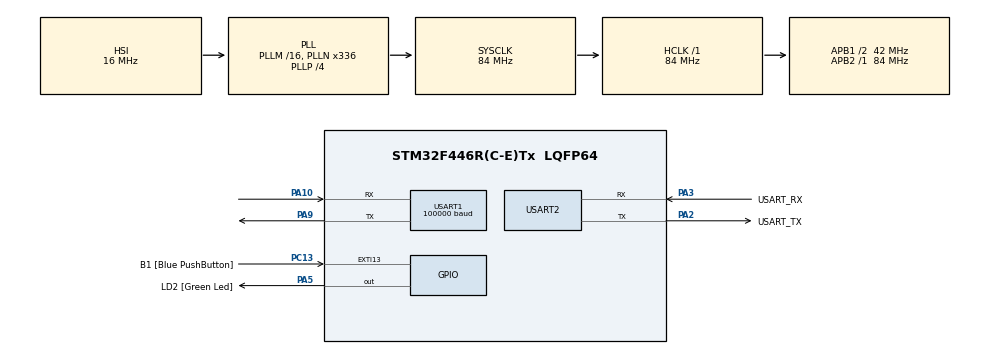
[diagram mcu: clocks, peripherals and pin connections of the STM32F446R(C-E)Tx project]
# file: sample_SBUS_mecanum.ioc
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Mcu.Family=STM32F4
Mcu.Name=STM32F446R(C-E)Tx
Mcu.Package=LQFP64
NVIC.PriorityGroup=NVIC_PRIORITYGROUP_4
NVIC.TIM6_DAC_IRQn=true\:1\:0\:true\:false\:true\:true
NVIC.USART1_IRQn=true\:0\:0\:false\:false\:true\:true
PA10.Mode=Asynchronous
PA10.Signal=USART1_RX
PA13.GPIO_Label=TMS
PA13.Mode=Serial_Wire
PA13.Signal=SYS_JTMS-SWDIO
PA14.GPIO_Label=TCK
PA14.Mode=Serial_Wire
PA14.Signal=SYS_JTCK-SWCLK
PA2.GPIO_Label=USART_TX
PA2.Mode=Asynchronous
PA2.Signal=USART2_TX
PA3.GPIO_Label=USART_RX
PA3.Mode=Asynchronous
PA3.Signal=USART2_RX
PA5.GPIO_Label=LD2 [Green Led]
PA5.Signal=GPIO_Output
PA9.Mode=Asynchronous
PA9.Signal=USART1_TX
PB3.GPIO_Label=SWO
PB3.Signal=SYS_JTDO-SWO
PC13.GPIO_Label=B1 [Blue PushButton]
PC13.GPIO_ModeDefaultEXTI=GPIO_MODE_IT_FALLING
PC13.Signal=GPXTI13
PC14-OSC32_IN.Mode=LSE-External-Oscillator
PC14-OSC32_IN.Signal=RCC_OSC32_IN
PC15-OSC32_OUT.Mode=LSE-External-Oscillator
PC15-OSC32_OUT.Signal=RCC_OSC32_OUT
PH0-OSC_IN.Mode=HSE-External-Oscillator
PH0-OSC_IN.Signal=RCC_OSC_IN
PH1-OSC_OUT.Mode=HSE-External-Oscillator
PH1-OSC_OUT.Signal=RCC_OSC_OUT
ProjectManager.HeapSize=0x200
ProjectManager.StackSize=0x400
ProjectManager.TargetToolchain=SW4STM32
RCC.48MHZClocksFreq_Value=84000000
RCC.AHBFreq_Value=84000000
RCC.APB1CLKDivider=RCC_HCLK_DIV2
RCC.APB1Freq_Value=42000000
RCC.APB1TimFreq_Value=84000000
RCC.APB2Freq_Value=84000000
RCC.APB2TimFreq_Value=84000000
RCC.CortexFreq_Value=84000000
RCC.FLatency-AdvancedSettings=FLASH_LATENCY_2
RCC.HCLKFreq_Value=84000000
RCC.HSE_VALUE=8000000
RCC.HSI_VALUE=16000000
RCC.PLLN=336
RCC.PLLP=RCC_PLLP_DIV4
RCC.SYSCLKFreq_VALUE=84000000
RCC.SYSCLKSource=RCC_SYSCLKSOURCE_PLLCLK
RCC.USBFreq_Value=168000000
RCC.VCOOutputFreq_Value=336000000
TIM6.Period=84
TIM6.Prescaler=1000-1
USART1.BaudRate=100000
USART1.VirtualMode=VM_ASYNC
USART2.VirtualMode=VM_ASYNC
VP_TIM6_VS_ClockSourceINT.Mode=Enable_Timer
board=NUCLEO-F446RE

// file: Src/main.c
/**
 ******************************************************************************
 * @file           : main.c
 * @brief          : Main program body
 ******************************************************************************
 ** This notice applies to any and all portions of this file
 * that are not between comment pairs USER CODE BEGIN and
 * USER CODE END. Other portions of this file, whether
 * inserted by the user or by software development tools
 * are owned by their respective copyright owners.
 *
 * COPYRIGHT(c) 2020 STMicroelectronics
 *
 * Redistribution and use in source and binary forms, with or without modification,
 * are permitted provided that the following conditions are met:
 *   1. Redistributions of source code must retain the above copyright notice,
 *      this list of conditions and the following disclaimer.
 *   2. Redistributions in binary form must reproduce the above copyright notice,
 *      this list of conditions and the following disclaimer in the documentation
 *      and/or other materials provided with the distribution.
 *   3. Neither the name of STMicroelectronics nor the names of its contributors
 *      may be used to endorse or promote products derived from this software
 *      without specific prior written permission.
 *
 * THIS SOFTWARE IS PROVIDED BY THE COPYRIGHT HOLDERS AND CONTRIBUTORS "AS IS"
 * AND ANY EXPRESS OR IMPLIED WARRANTIES, INCLUDING, BUT NOT LIMITED TO, THE
 * IMPLIED WARRANTIES OF MERCHANTABILITY AND FITNESS FOR A PARTICULAR PURPOSE ARE
 * DISCLAIMED. IN NO EVENT SHALL THE COPYRIGHT HOLDER OR CONTRIBUTORS BE LIABLE
 * FOR ANY DIRECT, INDIRECT, INCIDENTAL, SPECIAL, EXEMPLARY, OR CONSEQUENTIAL
 * DAMAGES (INCLUDING, BUT NOT LIMITED TO, PROCUREMENT OF SUBSTITUTE GOODS OR
 * SERVICES; LOSS OF USE, DATA, OR PROFITS; OR BUSINESS INTERRUPTION) HOWEVER
 * CAUSED AND ON ANY THEORY OF LIABILITY, WHETHER IN CONTRACT, STRICT LIABILITY,
 * OR TORT (INCLUDING NEGLIGENCE OR OTHERWISE) ARISING IN ANY WAY OUT OF THE USE
 * OF THIS SOFTWARE, EVEN IF ADVISED OF THE POSSIBILITY OF SUCH DAMAGE.
 *
 ******************************************************************************
 */
#include "main.h"
#include "stm32f4xx_hal.h"
#include "tim.h"
#include "usart.h"
#include "gpio.h"

/* USER CODE BEGIN Includes */
#include "stm32f4xx_it.h"
#include ".\..\SW4STM32\sample_SBUS_mecanum\Application\User\xprintf.h"
#include ".\..\SW4STM32\sample_SBUS_mecanum\Application\User\wrapper.hpp"
#include ".\..\SW4STM32\sample_SBUS_mecanum\Application\User\mecanum.h"
#include ".\..\SW4STM32\sample_SBUS_mecanum\Application\User\SBUS_DIR.h"
/* USER CODE END Includes */

/* USER CODE BEGIN PV */
/* Private variables ---------------------------------------------------------*/

/* USER CODE END PV */

void SystemClock_Config(void);

/* USER CODE BEGIN PFP */
/* Private function prototypes -----------------------------------------------*/

/* USER CODE END PFP */

/* USER CODE BEGIN 0 */
MOTOR Motor;
	MOTOR *pMotor = &Motor;
/* USER CODE END 0 */

int main(void) {

	/* MCU Configuration----------------------------------------------------------*/

	/* Reset of all peripherals, Initializes the Flash interface and the Systick. */
	HAL_Init();

	/* Configure the system clock */
	SystemClock_Config();

	/* Initialize all configured peripherals */
	MX_GPIO_Init();
	MX_USART2_UART_Init();
	MX_USART1_UART_Init();
	MX_TIM6_Init();
	/* USER CODE BEGIN 2 */
	xprintfInit(huart2);
	int rxbuf1[10];
	long x, y;
	HAL_TIM_Base_Start_IT(&htim6);
DIR dir;
	void do_something() {
		dir=get_Dir();
		printDir(dir);
//		mecanumCon(pMotor);
//		printMecanum(Motor);
	}
	/* USER CODE END 2 */

	/* Infinite loop */
	while (1) {

		/* USER CODE BEGIN 3 */
		loop_do(do_something);
	}
	/* USER CODE END 3 */

}

void SystemClock_Config(void) {

	RCC_OscInitTypeDef RCC_OscInitStruct;
	RCC_ClkInitTypeDef RCC_ClkInitStruct;

	/**Configure the main internal regulator output voltage
	 */
	__HAL_RCC_PWR_CLK_ENABLE()
	;

	__HAL_PWR_VOLTAGESCALING_CONFIG(PWR_REGULATOR_VOLTAGE_SCALE3);

	/**Initializes the CPU, AHB and APB busses clocks
	 */
	RCC_OscInitStruct.OscillatorType = RCC_OSCILLATORTYPE_HSI;
	RCC_OscInitStruct.HSIState = RCC_HSI_ON;
	RCC_OscInitStruct.HSICalibrationValue = 16;
	RCC_OscInitStruct.PLL.PLLState = RCC_PLL_ON;
	RCC_OscInitStruct.PLL.PLLSource = RCC_PLLSOURCE_HSI;
	RCC_OscInitStruct.PLL.PLLM = 16;
	RCC_OscInitStruct.PLL.PLLN = 336;
	RCC_OscInitStruct.PLL.PLLP = RCC_PLLP_DIV4;
	RCC_OscInitStruct.PLL.PLLQ = 2;
	RCC_OscInitStruct.PLL.PLLR = 2;
	if (HAL_RCC_OscConfig(&RCC_OscInitStruct) != HAL_OK) {
		_Error_Handler(__FILE__, __LINE__);
	}

	/**Initializes the CPU, AHB and APB busses clocks
	 */
	RCC_ClkInitStruct.ClockType = RCC_CLOCKTYPE_HCLK | RCC_CLOCKTYPE_SYSCLK
			| RCC_CLOCKTYPE_PCLK1 | RCC_CLOCKTYPE_PCLK2;
	RCC_ClkInitStruct.SYSCLKSource = RCC_SYSCLKSOURCE_PLLCLK;
	RCC_ClkInitStruct.AHBCLKDivider = RCC_SYSCLK_DIV1;
	RCC_ClkInitStruct.APB1CLKDivider = RCC_HCLK_DIV2;
	RCC_ClkInitStruct.APB2CLKDivider = RCC_HCLK_DIV1;

	if (HAL_RCC_ClockConfig(&RCC_ClkInitStruct, FLASH_LATENCY_2) != HAL_OK) {
		_Error_Handler(__FILE__, __LINE__);
	}

	/**Configure the Systick interrupt time
	 */
	HAL_SYSTICK_Config(HAL_RCC_GetHCLKFreq() / 1000);

	/**Configure the Systick
	 */
	HAL_SYSTICK_CLKSourceConfig(SYSTICK_CLKSOURCE_HCLK);

	/* SysTick_IRQn interrupt configuration */
	HAL_NVIC_SetPriority(SysTick_IRQn, 0, 0);
}

void _Error_Handler(char *file, int line) {
	while (1) {
	}
}

/************************ (C) COPYRIGHT STMicroelectronics *****END OF FILE****/
